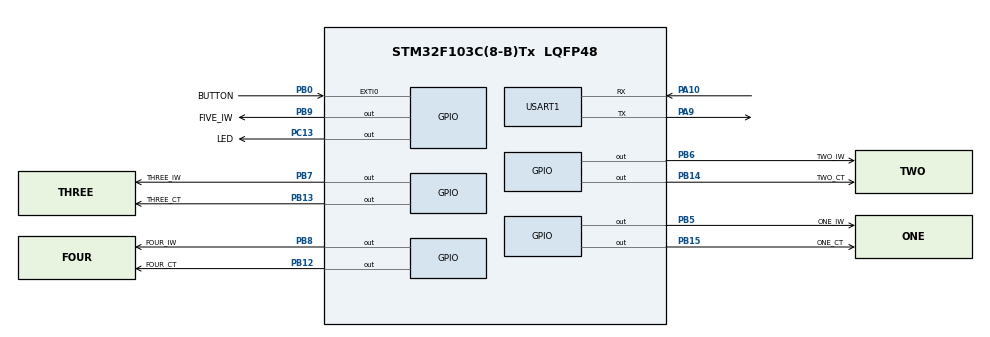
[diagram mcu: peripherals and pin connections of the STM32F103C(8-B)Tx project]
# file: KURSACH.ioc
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Mcu.Family=STM32F1
PB9.GPIO_Label=FIVE_IW
PA10.Mode=Asynchronous
PB14.GPIO_Label=TWO_CT
PC13-TAMPER-RTC.Signal=GPIO_Output
PB0.GPIO_Label=BUTTON
PB6.GPIO_Label=TWO_IW
NVIC.TIM1_UP_IRQn=true\:2\:0\:true\:false\:true\:true\:true
PB13.GPIO_Label=THREE_CT
PB15.Signal=GPIO_Output
PB13.Signal=GPIO_Output
VP_SYS_VS_ND.Mode=No_Debug
ProjectManager.StackSize=0x400
PB8.GPIO_Label=FOUR_IW
PA9.Mode=Asynchronous
TIM1.Prescaler=50
ProjectManager.TargetToolchain=STM32CubeIDE
PA9.Signal=USART1_TX
PB6.Signal=GPIO_Output
PB14.Signal=GPIO_Output
board=custom
PC13-TAMPER-RTC.GPIO_Label=LED
PB12.GPIO_Label=FOUR_CT
RCC.APB2Freq_Value=8000000
PB15.GPIO_Label=ONE_CT
PB7.Signal=GPIO_Output
Mcu.Name=STM32F103C(8-B)Tx
VP_TIM1_VS_ClockSourceINT.Mode=Internal
PB7.GPIO_Label=THREE_IW
NVIC.EXTI0_IRQn=true\:1\:0\:true\:false\:true\:true\:true
Mcu.Package=LQFP48
PB5.Signal=GPIO_Output
PB9.Signal=GPIO_Output
USART1.VirtualMode=VM_ASYNC
PA10.Signal=USART1_RX
ProjectManager.HeapSize=0x200
NVIC.PriorityGroup=NVIC_PRIORITYGROUP_4
PB5.GPIO_Label=ONE_IW
PB8.Signal=GPIO_Output
TIM1.Period=500
NVIC.USART1_IRQn=true\:0\:0\:true\:false\:true\:true\:true
RCC.APB1Freq_Value=8000000
PB0.Signal=GPXTI0
PB12.Signal=GPIO_Output

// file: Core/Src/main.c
/* USER CODE BEGIN Header */
/**
  ******************************************************************************
  * @file           : main.c
  * @brief          : Main program body
  ******************************************************************************
  * @attention
  *
  * <h2><center>&copy; Copyright (c) 2022 STMicroelectronics.
  * All rights reserved.</center></h2>
  *
  * This software component is licensed by ST under BSD 3-Clause license,
  * the "License"; You may not use this file except in compliance with the
  * License. You may obtain a copy of the License at:
  *                        opensource.org/licenses/BSD-3-Clause
  *
  ******************************************************************************
  */
/* USER CODE END Header */
#include "main.h"

/* USER CODE BEGIN Includes */
#include "LedCube_KIZv2.h"
#include "LedCube_UART.h"
/* USER CODE END Includes */

TIM_HandleTypeDef htim1;

UART_HandleTypeDef huart1;

/* USER CODE BEGIN PV */
uint8_t RxData[STRING_SIZE] = {};
/* USER CODE END PV */

void SystemClock_Config(void);
static void MX_GPIO_Init(void);
static void MX_TIM1_Init(void);
static void MX_USART1_UART_Init(void);

int main(void)
{

  /* MCU Configuration--------------------------------------------------------*/

  /* Reset of all peripherals, Initializes the Flash interface and the Systick. */
  HAL_Init();

  /* Configure the system clock */
  SystemClock_Config();

  /* Initialize all configured peripherals */
  MX_GPIO_Init();
  MX_TIM1_Init();
  MX_USART1_UART_Init();
  /* USER CODE BEGIN 2 */
  LedCube_Init();
  HAL_UARTEx_ReceiveToIdle_IT(&huart1, RxData, STRING_SIZE);
  HAL_GPIO_WritePin(LED_GPIO_Port, LED_Pin, ON);
  HAL_TIM_Base_Start_IT(&htim1);

  /* USER CODE END 2 */

  /* Infinite loop */
  /* USER CODE BEGIN WHILE */

  uint8_t string[] = "Ну здарова";
  uint8_t string2[] = "Привет мир";
  LedCube_FillStack(string, SYMBOL_STANDART);
  LedCube_FillCubeString(string);
  LedCube_FillStack(string2, SYMBOL_STANDART);
  LedCube_FillCubeString(string2);

  LedCube_AllTests();
  while (1)
  {
	  LedCube_StartString(1);
	  LedCube_Test4();
    /* USER CODE END WHILE */

  }
}

void SystemClock_Config(void)
{
  RCC_OscInitTypeDef RCC_OscInitStruct = {0};
  RCC_ClkInitTypeDef RCC_ClkInitStruct = {0};

  /** Initializes the RCC Oscillators according to the specified parameters
  * in the RCC_OscInitTypeDef structure.
  */
  RCC_OscInitStruct.OscillatorType = RCC_OSCILLATORTYPE_HSI;
  RCC_OscInitStruct.HSIState = RCC_HSI_ON;
  RCC_OscInitStruct.HSICalibrationValue = RCC_HSICALIBRATION_DEFAULT;
  RCC_OscInitStruct.PLL.PLLState = RCC_PLL_NONE;
  if (HAL_RCC_OscConfig(&RCC_OscInitStruct) != HAL_OK)
  {
    Error_Handler();
  }
  /** Initializes the CPU, AHB and APB buses clocks
  */
  RCC_ClkInitStruct.ClockType = RCC_CLOCKTYPE_HCLK|RCC_CLOCKTYPE_SYSCLK
                              |RCC_CLOCKTYPE_PCLK1|RCC_CLOCKTYPE_PCLK2;
  RCC_ClkInitStruct.SYSCLKSource = RCC_SYSCLKSOURCE_HSI;
  RCC_ClkInitStruct.AHBCLKDivider = RCC_SYSCLK_DIV1;
  RCC_ClkInitStruct.APB1CLKDivider = RCC_HCLK_DIV1;
  RCC_ClkInitStruct.APB2CLKDivider = RCC_HCLK_DIV1;

  if (HAL_RCC_ClockConfig(&RCC_ClkInitStruct, FLASH_LATENCY_0) != HAL_OK)
  {
    Error_Handler();
  }
}

static void MX_TIM1_Init(void)
{

  TIM_ClockConfigTypeDef sClockSourceConfig = {0};
  TIM_MasterConfigTypeDef sMasterConfig = {0};

  htim1.Instance = TIM1;
  htim1.Init.Prescaler = 50;
  htim1.Init.CounterMode = TIM_COUNTERMODE_UP;
  htim1.Init.Period = 500;
  htim1.Init.ClockDivision = TIM_CLOCKDIVISION_DIV1;
  htim1.Init.RepetitionCounter = 0;
  htim1.Init.AutoReloadPreload = TIM_AUTORELOAD_PRELOAD_DISABLE;
  if (HAL_TIM_Base_Init(&htim1) != HAL_OK)
  {
    Error_Handler();
  }
  sClockSourceConfig.ClockSource = TIM_CLOCKSOURCE_INTERNAL;
  if (HAL_TIM_ConfigClockSource(&htim1, &sClockSourceConfig) != HAL_OK)
  {
    Error_Handler();
  }
  sMasterConfig.MasterOutputTrigger = TIM_TRGO_RESET;
  sMasterConfig.MasterSlaveMode = TIM_MASTERSLAVEMODE_DISABLE;
  if (HAL_TIMEx_MasterConfigSynchronization(&htim1, &sMasterConfig) != HAL_OK)
  {
    Error_Handler();
  }

}

static void MX_USART1_UART_Init(void)
{

  huart1.Instance = USART1;
  huart1.Init.BaudRate = 115200;
  huart1.Init.WordLength = UART_WORDLENGTH_8B;
  huart1.Init.StopBits = UART_STOPBITS_1;
  huart1.Init.Parity = UART_PARITY_NONE;
  huart1.Init.Mode = UART_MODE_TX_RX;
  huart1.Init.HwFlowCtl = UART_HWCONTROL_NONE;
  huart1.Init.OverSampling = UART_OVERSAMPLING_16;
  if (HAL_UART_Init(&huart1) != HAL_OK)
  {
    Error_Handler();
  }

}

static void MX_GPIO_Init(void)
{
  GPIO_InitTypeDef GPIO_InitStruct = {0};

  /* GPIO Ports Clock Enable */
  __HAL_RCC_GPIOC_CLK_ENABLE();
  __HAL_RCC_GPIOB_CLK_ENABLE();
  __HAL_RCC_GPIOA_CLK_ENABLE();

  /*Configure GPIO pin Output Level */
  HAL_GPIO_WritePin(LED_GPIO_Port, LED_Pin, GPIO_PIN_RESET);

  /*Configure GPIO pin Output Level */
  HAL_GPIO_WritePin(GPIOB, FOUR_CT_Pin|THREE_CT_Pin|TWO_CT_Pin|ONE_CT_Pin
                          |ONE_IW_Pin|TWO_IW_Pin|THREE_IW_Pin|FOUR_IW_Pin
                          |FIVE_IW_Pin, GPIO_PIN_RESET);

  /*Configure GPIO pin : LED_Pin */
  GPIO_InitStruct.Pin = LED_Pin;
  GPIO_InitStruct.Mode = GPIO_MODE_OUTPUT_PP;
  GPIO_InitStruct.Pull = GPIO_NOPULL;
  GPIO_InitStruct.Speed = GPIO_SPEED_FREQ_LOW;
  HAL_GPIO_Init(LED_GPIO_Port, &GPIO_InitStruct);

  /*Configure GPIO pin : BUTTON_Pin */
  GPIO_InitStruct.Pin = BUTTON_Pin;
  GPIO_InitStruct.Mode = GPIO_MODE_IT_RISING;
  GPIO_InitStruct.Pull = GPIO_NOPULL;
  HAL_GPIO_Init(BUTTON_GPIO_Port, &GPIO_InitStruct);

  /*Configure GPIO pins : FOUR_CT_Pin THREE_CT_Pin TWO_CT_Pin ONE_CT_Pin
                           ONE_IW_Pin TWO_IW_Pin THREE_IW_Pin FOUR_IW_Pin
                           FIVE_IW_Pin */
  GPIO_InitStruct.Pin = FOUR_CT_Pin|THREE_CT_Pin|TWO_CT_Pin|ONE_CT_Pin
                          |ONE_IW_Pin|TWO_IW_Pin|THREE_IW_Pin|FOUR_IW_Pin
                          |FIVE_IW_Pin;
  GPIO_InitStruct.Mode = GPIO_MODE_OUTPUT_PP;
  GPIO_InitStruct.Pull = GPIO_NOPULL;
  GPIO_InitStruct.Speed = GPIO_SPEED_FREQ_LOW;
  HAL_GPIO_Init(GPIOB, &GPIO_InitStruct);

  /* EXTI interrupt init*/
  HAL_NVIC_SetPriority(EXTI0_IRQn, 1, 0);
  HAL_NVIC_EnableIRQ(EXTI0_IRQn);

}

void Error_Handler(void)
{
  __disable_irq();
  while (1)
  {
  }
}

/************************ (C) COPYRIGHT STMicroelectronics *****END OF FILE****/
